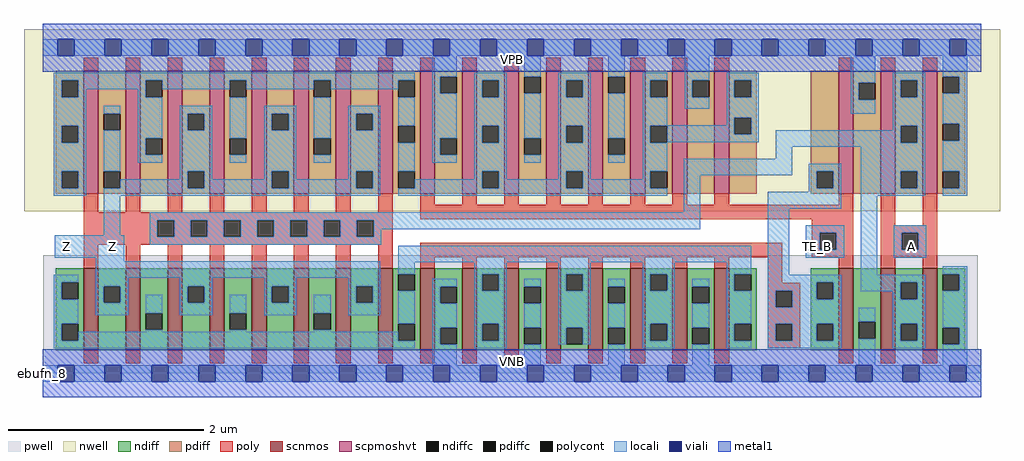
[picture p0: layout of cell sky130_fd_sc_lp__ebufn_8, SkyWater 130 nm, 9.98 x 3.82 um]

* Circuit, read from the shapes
.subckt sky130_fd_sc_lp__ebufn_8 A TE_B VGND VNB VPB VPWR Z
XM1 Z n1 n2 VNB sky130_fd_pr__nfet_01v8 w=0.84 l=0.15 m=8
XM2 VGND n3 n2 VNB sky130_fd_pr__nfet_01v8 w=0.84 l=0.15 m=8
XM3 VGND TE_B n3 VNB sky130_fd_pr__nfet_01v8 w=0.84 l=0.15
XM4 n1 A VGND VNB sky130_fd_pr__nfet_01v8 w=0.84 l=0.15 m=2
XM5 Z n1 n4 VPB sky130_fd_pr__pfet_01v8_hvt w=1.26 l=0.15 m=8
XM6 VPWR TE_B n4 VPB sky130_fd_pr__pfet_01v8_hvt w=1.26 l=0.15 m=8
XM7 VPWR TE_B n3 VPB sky130_fd_pr__pfet_01v8_hvt w=1.26 l=0.15
XM8 n1 A VPWR VPB sky130_fd_pr__pfet_01v8_hvt w=1.26 l=0.15 m=2
.ends

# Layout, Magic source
magic
tech sky130A
magscale 1 2
<< nwell >>
rect -38 331 1958 704
<< pwell >>
rect 1 49 1913 241
rect 0 0 1920 49
<< scnmos >>
rect 84 47 114 215
rect 170 47 200 215
rect 256 47 286 215
rect 342 47 372 215
rect 428 47 458 215
rect 514 47 544 215
rect 600 47 630 215
rect 686 47 716 215
rect 772 47 802 215
rect 858 47 888 215
rect 944 47 974 215
rect 1030 47 1060 215
rect 1116 47 1146 215
rect 1202 47 1232 215
rect 1288 47 1318 215
rect 1374 47 1404 215
rect 1628 47 1658 215
rect 1714 47 1744 215
rect 1800 47 1830 215
<< scpmoshvt >>
rect 84 367 114 619
rect 170 367 200 619
rect 256 367 286 619
rect 342 367 372 619
rect 428 367 458 619
rect 514 367 544 619
rect 600 367 630 619
rect 686 367 716 619
rect 772 367 802 619
rect 858 367 888 619
rect 944 367 974 619
rect 1030 367 1060 619
rect 1116 367 1146 619
rect 1202 367 1232 619
rect 1288 367 1318 619
rect 1374 367 1404 619
rect 1628 367 1658 619
rect 1714 367 1744 619
rect 1800 367 1830 619
<< ndiff >>
rect 27 186 84 215
rect 27 152 39 186
rect 73 152 84 186
rect 27 101 84 152
rect 27 67 39 101
rect 73 67 84 101
rect 27 47 84 67
rect 114 178 170 215
rect 114 144 125 178
rect 159 144 170 178
rect 114 47 170 144
rect 200 123 256 215
rect 200 89 211 123
rect 245 89 256 123
rect 200 47 256 89
rect 286 178 342 215
rect 286 144 297 178
rect 331 144 342 178
rect 286 47 342 144
rect 372 123 428 215
rect 372 89 383 123
rect 417 89 428 123
rect 372 47 428 89
rect 458 178 514 215
rect 458 144 469 178
rect 503 144 514 178
rect 458 47 514 144
rect 544 123 600 215
rect 544 89 555 123
rect 589 89 600 123
rect 544 47 600 89
rect 630 178 686 215
rect 630 144 641 178
rect 675 144 686 178
rect 630 47 686 144
rect 716 203 772 215
rect 716 169 727 203
rect 761 169 772 203
rect 716 101 772 169
rect 716 67 727 101
rect 761 67 772 101
rect 716 47 772 67
rect 802 177 858 215
rect 802 143 813 177
rect 847 143 858 177
rect 802 93 858 143
rect 802 59 813 93
rect 847 59 858 93
rect 802 47 858 59
rect 888 203 944 215
rect 888 169 899 203
rect 933 169 944 203
rect 888 101 944 169
rect 888 67 899 101
rect 933 67 944 101
rect 888 47 944 67
rect 974 177 1030 215
rect 974 143 985 177
rect 1019 143 1030 177
rect 974 93 1030 143
rect 974 59 985 93
rect 1019 59 1030 93
rect 974 47 1030 59
rect 1060 203 1116 215
rect 1060 169 1071 203
rect 1105 169 1116 203
rect 1060 93 1116 169
rect 1060 59 1071 93
rect 1105 59 1116 93
rect 1060 47 1116 59
rect 1146 177 1202 215
rect 1146 143 1157 177
rect 1191 143 1202 177
rect 1146 93 1202 143
rect 1146 59 1157 93
rect 1191 59 1202 93
rect 1146 47 1202 59
rect 1232 203 1288 215
rect 1232 169 1243 203
rect 1277 169 1288 203
rect 1232 101 1288 169
rect 1232 67 1243 101
rect 1277 67 1288 101
rect 1232 47 1288 67
rect 1318 177 1374 215
rect 1318 143 1329 177
rect 1363 143 1374 177
rect 1318 93 1374 143
rect 1318 59 1329 93
rect 1363 59 1374 93
rect 1318 47 1374 59
rect 1404 203 1461 215
rect 1404 169 1415 203
rect 1449 169 1461 203
rect 1404 101 1461 169
rect 1404 67 1415 101
rect 1449 67 1461 101
rect 1404 47 1461 67
rect 1571 186 1628 215
rect 1571 152 1583 186
rect 1617 152 1628 186
rect 1571 101 1628 152
rect 1571 67 1583 101
rect 1617 67 1628 101
rect 1571 47 1628 67
rect 1658 105 1714 215
rect 1658 71 1669 105
rect 1703 71 1714 105
rect 1658 47 1714 71
rect 1744 186 1800 215
rect 1744 152 1755 186
rect 1789 152 1800 186
rect 1744 101 1800 152
rect 1744 67 1755 101
rect 1789 67 1800 101
rect 1744 47 1800 67
rect 1830 203 1887 215
rect 1830 169 1841 203
rect 1875 169 1887 203
rect 1830 93 1887 169
rect 1830 59 1841 93
rect 1875 59 1887 93
rect 1830 47 1887 59
<< pdiff >>
rect 27 599 84 619
rect 27 565 39 599
rect 73 565 84 599
rect 27 506 84 565
rect 27 472 39 506
rect 73 472 84 506
rect 27 413 84 472
rect 27 379 39 413
rect 73 379 84 413
rect 27 367 84 379
rect 114 531 170 619
rect 114 497 125 531
rect 159 497 170 531
rect 114 413 170 497
rect 114 379 125 413
rect 159 379 170 413
rect 114 367 170 379
rect 200 599 256 619
rect 200 565 211 599
rect 245 565 256 599
rect 200 481 256 565
rect 200 447 211 481
rect 245 447 256 481
rect 200 367 256 447
rect 286 531 342 619
rect 286 497 297 531
rect 331 497 342 531
rect 286 413 342 497
rect 286 379 297 413
rect 331 379 342 413
rect 286 367 342 379
rect 372 599 428 619
rect 372 565 383 599
rect 417 565 428 599
rect 372 481 428 565
rect 372 447 383 481
rect 417 447 428 481
rect 372 367 428 447
rect 458 531 514 619
rect 458 497 469 531
rect 503 497 514 531
rect 458 413 514 497
rect 458 379 469 413
rect 503 379 514 413
rect 458 367 514 379
rect 544 599 600 619
rect 544 565 555 599
rect 589 565 600 599
rect 544 481 600 565
rect 544 447 555 481
rect 589 447 600 481
rect 544 367 600 447
rect 630 531 686 619
rect 630 497 641 531
rect 675 497 686 531
rect 630 413 686 497
rect 630 379 641 413
rect 675 379 686 413
rect 630 367 686 379
rect 716 599 772 619
rect 716 565 727 599
rect 761 565 772 599
rect 716 506 772 565
rect 716 472 727 506
rect 761 472 772 506
rect 716 413 772 472
rect 716 379 727 413
rect 761 379 772 413
rect 716 367 772 379
rect 802 607 858 619
rect 802 573 813 607
rect 847 573 858 607
rect 802 481 858 573
rect 802 447 813 481
rect 847 447 858 481
rect 802 367 858 447
rect 888 599 944 619
rect 888 565 899 599
rect 933 565 944 599
rect 888 506 944 565
rect 888 472 899 506
rect 933 472 944 506
rect 888 413 944 472
rect 888 379 899 413
rect 933 379 944 413
rect 888 367 944 379
rect 974 607 1030 619
rect 974 573 985 607
rect 1019 573 1030 607
rect 974 481 1030 573
rect 974 447 985 481
rect 1019 447 1030 481
rect 974 367 1030 447
rect 1060 599 1116 619
rect 1060 565 1071 599
rect 1105 565 1116 599
rect 1060 506 1116 565
rect 1060 472 1071 506
rect 1105 472 1116 506
rect 1060 413 1116 472
rect 1060 379 1071 413
rect 1105 379 1116 413
rect 1060 367 1116 379
rect 1146 607 1202 619
rect 1146 573 1157 607
rect 1191 573 1202 607
rect 1146 481 1202 573
rect 1146 447 1157 481
rect 1191 447 1202 481
rect 1146 367 1202 447
rect 1232 599 1288 619
rect 1232 565 1243 599
rect 1277 565 1288 599
rect 1232 506 1288 565
rect 1232 472 1243 506
rect 1277 472 1288 506
rect 1232 413 1288 472
rect 1232 379 1243 413
rect 1277 379 1288 413
rect 1232 367 1288 379
rect 1318 599 1374 619
rect 1318 565 1329 599
rect 1363 565 1374 599
rect 1318 367 1374 565
rect 1404 599 1461 619
rect 1404 565 1415 599
rect 1449 565 1461 599
rect 1404 523 1461 565
rect 1404 489 1415 523
rect 1449 489 1461 523
rect 1404 367 1461 489
rect 1571 413 1628 619
rect 1571 379 1583 413
rect 1617 379 1628 413
rect 1571 367 1628 379
rect 1658 594 1714 619
rect 1658 560 1669 594
rect 1703 560 1714 594
rect 1658 367 1714 560
rect 1744 599 1800 619
rect 1744 565 1755 599
rect 1789 565 1800 599
rect 1744 506 1800 565
rect 1744 472 1755 506
rect 1789 472 1800 506
rect 1744 413 1800 472
rect 1744 379 1755 413
rect 1789 379 1800 413
rect 1744 367 1800 379
rect 1830 607 1887 619
rect 1830 573 1841 607
rect 1875 573 1887 607
rect 1830 510 1887 573
rect 1830 476 1841 510
rect 1875 476 1887 510
rect 1830 413 1887 476
rect 1830 379 1841 413
rect 1875 379 1887 413
rect 1830 367 1887 379
<< ndiffc >>
rect 39 152 73 186
rect 39 67 73 101
rect 125 144 159 178
rect 211 89 245 123
rect 297 144 331 178
rect 383 89 417 123
rect 469 144 503 178
rect 555 89 589 123
rect 641 144 675 178
rect 727 169 761 203
rect 727 67 761 101
rect 813 143 847 177
rect 813 59 847 93
rect 899 169 933 203
rect 899 67 933 101
rect 985 143 1019 177
rect 985 59 1019 93
rect 1071 169 1105 203
rect 1071 59 1105 93
rect 1157 143 1191 177
rect 1157 59 1191 93
rect 1243 169 1277 203
rect 1243 67 1277 101
rect 1329 143 1363 177
rect 1329 59 1363 93
rect 1415 169 1449 203
rect 1415 67 1449 101
rect 1583 152 1617 186
rect 1583 67 1617 101
rect 1669 71 1703 105
rect 1755 152 1789 186
rect 1755 67 1789 101
rect 1841 169 1875 203
rect 1841 59 1875 93
<< pdiffc >>
rect 39 565 73 599
rect 39 472 73 506
rect 39 379 73 413
rect 125 497 159 531
rect 125 379 159 413
rect 211 565 245 599
rect 211 447 245 481
rect 297 497 331 531
rect 297 379 331 413
rect 383 565 417 599
rect 383 447 417 481
rect 469 497 503 531
rect 469 379 503 413
rect 555 565 589 599
rect 555 447 589 481
rect 641 497 675 531
rect 641 379 675 413
rect 727 565 761 599
rect 727 472 761 506
rect 727 379 761 413
rect 813 573 847 607
rect 813 447 847 481
rect 899 565 933 599
rect 899 472 933 506
rect 899 379 933 413
rect 985 573 1019 607
rect 985 447 1019 481
rect 1071 565 1105 599
rect 1071 472 1105 506
rect 1071 379 1105 413
rect 1157 573 1191 607
rect 1157 447 1191 481
rect 1243 565 1277 599
rect 1243 472 1277 506
rect 1243 379 1277 413
rect 1329 565 1363 599
rect 1415 565 1449 599
rect 1415 489 1449 523
rect 1583 379 1617 413
rect 1669 560 1703 594
rect 1755 565 1789 599
rect 1755 472 1789 506
rect 1755 379 1789 413
rect 1841 573 1875 607
rect 1841 476 1875 510
rect 1841 379 1875 413
<< poly >>
rect 84 619 114 645
rect 170 619 200 645
rect 256 619 286 645
rect 342 619 372 645
rect 428 619 458 645
rect 514 619 544 645
rect 600 619 630 645
rect 686 619 716 645
rect 772 619 802 645
rect 858 619 888 645
rect 944 619 974 645
rect 1030 619 1060 645
rect 1116 619 1146 645
rect 1202 619 1232 645
rect 1288 619 1318 645
rect 1374 619 1404 645
rect 1628 619 1658 645
rect 1714 619 1744 645
rect 1800 619 1830 645
rect 84 329 114 367
rect 170 329 200 367
rect 256 329 286 367
rect 342 329 372 367
rect 428 329 458 367
rect 514 329 544 367
rect 600 329 630 367
rect 686 329 716 367
rect 84 313 716 329
rect 772 345 802 367
rect 858 345 888 367
rect 944 345 974 367
rect 1030 345 1060 367
rect 1116 345 1146 367
rect 1202 345 1232 367
rect 1288 345 1318 367
rect 1374 345 1404 367
rect 1628 345 1658 367
rect 772 315 1658 345
rect 84 279 235 313
rect 269 279 303 313
rect 337 279 371 313
rect 405 279 439 313
rect 473 279 507 313
rect 541 279 575 313
rect 609 279 643 313
rect 677 279 716 313
rect 84 263 716 279
rect 1573 287 1658 315
rect 84 215 114 263
rect 170 215 200 263
rect 256 215 286 263
rect 342 215 372 263
rect 428 215 458 263
rect 514 215 544 263
rect 600 215 630 263
rect 686 215 716 263
rect 772 237 1513 267
rect 1573 253 1589 287
rect 1623 253 1658 287
rect 1573 237 1658 253
rect 772 215 802 237
rect 858 215 888 237
rect 944 215 974 237
rect 1030 215 1060 237
rect 1116 215 1146 237
rect 1202 215 1232 237
rect 1288 215 1318 237
rect 1374 215 1404 237
rect 1483 185 1513 237
rect 1628 215 1658 237
rect 1714 303 1744 367
rect 1800 303 1830 367
rect 1714 287 1830 303
rect 1714 253 1757 287
rect 1791 253 1830 287
rect 1714 237 1830 253
rect 1714 215 1744 237
rect 1800 215 1830 237
rect 1483 169 1549 185
rect 1483 135 1499 169
rect 1533 135 1549 169
rect 1483 101 1549 135
rect 1483 67 1499 101
rect 1533 67 1549 101
rect 1483 51 1549 67
rect 84 21 114 47
rect 170 21 200 47
rect 256 21 286 47
rect 342 21 372 47
rect 428 21 458 47
rect 514 21 544 47
rect 600 21 630 47
rect 686 21 716 47
rect 772 21 802 47
rect 858 21 888 47
rect 944 21 974 47
rect 1030 21 1060 47
rect 1116 21 1146 47
rect 1202 21 1232 47
rect 1288 21 1318 47
rect 1374 21 1404 47
rect 1628 21 1658 47
rect 1714 21 1744 47
rect 1800 21 1830 47
<< polycont >>
rect 235 279 269 313
rect 303 279 337 313
rect 371 279 405 313
rect 439 279 473 313
rect 507 279 541 313
rect 575 279 609 313
rect 643 279 677 313
rect 1589 253 1623 287
rect 1757 253 1791 287
rect 1499 135 1533 169
rect 1499 67 1533 101
<< locali >>
rect 0 649 31 683
rect 65 649 127 683
rect 161 649 223 683
rect 257 649 319 683
rect 353 649 415 683
rect 449 649 511 683
rect 545 649 607 683
rect 641 649 703 683
rect 737 649 799 683
rect 833 649 895 683
rect 929 649 991 683
rect 1025 649 1087 683
rect 1121 649 1183 683
rect 1217 649 1279 683
rect 1313 649 1375 683
rect 1409 649 1471 683
rect 1505 649 1567 683
rect 1601 649 1663 683
rect 1697 649 1759 683
rect 1793 649 1855 683
rect 1889 649 1920 683
rect 23 599 761 615
rect 23 565 39 599
rect 73 581 211 599
rect 73 565 89 581
rect 23 506 89 565
rect 195 565 211 581
rect 245 581 383 599
rect 23 472 39 506
rect 73 472 89 506
rect 23 413 89 472
rect 23 379 39 413
rect 73 379 89 413
rect 23 363 89 379
rect 125 531 159 547
rect 125 413 159 497
rect 195 481 245 565
rect 417 581 555 599
rect 195 447 211 481
rect 195 431 245 447
rect 281 531 347 547
rect 281 497 297 531
rect 331 497 347 531
rect 281 413 347 497
rect 383 481 417 565
rect 589 581 727 599
rect 383 431 417 447
rect 453 531 519 547
rect 453 497 469 531
rect 503 497 519 531
rect 281 397 297 413
rect 159 379 297 397
rect 331 397 347 413
rect 453 413 519 497
rect 555 481 589 565
rect 555 431 589 447
rect 625 531 691 547
rect 625 497 641 531
rect 675 497 691 531
rect 453 397 469 413
rect 331 379 469 397
rect 503 397 519 413
rect 625 413 691 497
rect 625 397 641 413
rect 503 379 641 397
rect 675 379 691 413
rect 125 363 691 379
rect 727 506 761 565
rect 727 413 761 472
rect 797 607 847 649
rect 797 573 813 607
rect 797 481 847 573
rect 797 447 813 481
rect 797 431 847 447
rect 883 599 949 615
rect 883 565 899 599
rect 933 565 949 599
rect 883 506 949 565
rect 883 472 899 506
rect 933 472 949 506
rect 883 413 949 472
rect 985 607 1019 649
rect 985 481 1019 573
rect 985 431 1019 447
rect 1055 599 1121 615
rect 1055 565 1071 599
rect 1105 565 1121 599
rect 1055 506 1121 565
rect 1055 472 1071 506
rect 1105 472 1121 506
rect 883 397 899 413
rect 761 379 899 397
rect 933 397 949 413
rect 1055 413 1121 472
rect 1157 607 1191 649
rect 1157 481 1191 573
rect 1157 431 1191 447
rect 1227 599 1277 615
rect 1227 565 1243 599
rect 1227 507 1277 565
rect 1313 599 1363 649
rect 1313 565 1329 599
rect 1313 541 1363 565
rect 1399 599 1465 615
rect 1399 565 1415 599
rect 1449 565 1465 599
rect 1399 523 1465 565
rect 1653 594 1703 649
rect 1653 560 1669 594
rect 1653 531 1703 560
rect 1739 599 1805 615
rect 1739 565 1755 599
rect 1789 565 1805 599
rect 1399 507 1415 523
rect 1227 506 1415 507
rect 1227 472 1243 506
rect 1277 489 1415 506
rect 1449 489 1465 523
rect 1739 506 1805 565
rect 1739 497 1755 506
rect 1277 473 1465 489
rect 1055 397 1071 413
rect 933 379 1071 397
rect 1105 397 1121 413
rect 1227 413 1277 472
rect 1499 472 1755 497
rect 1789 472 1805 506
rect 1499 463 1805 472
rect 1499 439 1533 463
rect 1227 397 1243 413
rect 1105 379 1243 397
rect 727 363 1277 379
rect 1311 405 1533 439
rect 1567 413 1633 429
rect 125 282 159 363
rect 1311 329 1345 405
rect 1567 379 1583 413
rect 1617 379 1633 413
rect 1567 371 1633 379
rect 219 313 1345 329
rect 25 236 167 282
rect 219 279 235 313
rect 269 279 303 313
rect 337 279 371 313
rect 405 279 439 313
rect 473 279 507 313
rect 541 279 575 313
rect 609 279 643 313
rect 677 295 1345 313
rect 1483 337 1633 371
rect 1673 413 1805 463
rect 1673 379 1755 413
rect 1789 379 1805 413
rect 1673 363 1805 379
rect 1841 607 1891 649
rect 1875 573 1891 607
rect 1841 510 1891 573
rect 1875 476 1891 510
rect 1841 413 1891 476
rect 1875 379 1891 413
rect 1841 363 1891 379
rect 677 279 693 295
rect 219 263 693 279
rect 109 229 167 236
rect 23 186 73 202
rect 23 152 39 186
rect 23 101 73 152
rect 109 195 691 229
rect 109 178 175 195
rect 109 144 125 178
rect 159 144 175 178
rect 281 178 347 195
rect 109 119 175 144
rect 211 123 245 161
rect 23 67 39 101
rect 281 144 297 178
rect 331 144 347 178
rect 453 178 519 195
rect 281 119 347 144
rect 383 123 417 161
rect 211 85 245 89
rect 453 144 469 178
rect 503 144 519 178
rect 625 178 691 195
rect 453 119 519 144
rect 555 123 589 161
rect 383 85 417 89
rect 625 144 641 178
rect 675 144 691 178
rect 625 119 691 144
rect 727 227 1449 261
rect 727 203 761 227
rect 883 203 949 227
rect 555 85 589 89
rect 727 101 761 169
rect 73 67 727 85
rect 23 51 761 67
rect 797 177 847 193
rect 797 143 813 177
rect 797 93 847 143
rect 797 59 813 93
rect 797 17 847 59
rect 883 169 899 203
rect 933 169 949 203
rect 1055 203 1121 227
rect 883 101 949 169
rect 883 67 899 101
rect 933 67 949 101
rect 883 51 949 67
rect 985 177 1019 193
rect 985 93 1019 143
rect 1055 169 1071 203
rect 1105 169 1121 203
rect 1227 203 1293 227
rect 1055 93 1121 169
rect 1055 59 1071 93
rect 1105 59 1121 93
rect 1157 177 1191 193
rect 1157 93 1191 143
rect 985 17 1019 59
rect 1157 17 1191 59
rect 1227 169 1243 203
rect 1277 169 1293 203
rect 1399 203 1449 227
rect 1227 101 1293 169
rect 1227 67 1243 101
rect 1277 67 1293 101
rect 1227 51 1293 67
rect 1329 177 1363 193
rect 1329 93 1363 143
rect 1329 17 1363 59
rect 1399 169 1415 203
rect 1399 101 1449 169
rect 1399 67 1415 101
rect 1399 51 1449 67
rect 1483 202 1527 337
rect 1561 287 1639 303
rect 1561 253 1589 287
rect 1623 253 1639 287
rect 1561 236 1639 253
rect 1673 202 1707 363
rect 1741 287 1807 303
rect 1741 253 1757 287
rect 1791 253 1807 287
rect 1741 236 1807 253
rect 1841 203 1891 219
rect 1483 186 1633 202
rect 1483 169 1583 186
rect 1483 135 1499 169
rect 1533 152 1583 169
rect 1617 152 1633 186
rect 1673 186 1805 202
rect 1673 168 1755 186
rect 1533 135 1633 152
rect 1483 101 1633 135
rect 1739 152 1755 168
rect 1789 152 1805 186
rect 1483 67 1499 101
rect 1533 67 1583 101
rect 1617 67 1633 101
rect 1483 51 1633 67
rect 1669 105 1703 134
rect 1669 17 1703 71
rect 1739 101 1805 152
rect 1739 67 1755 101
rect 1789 67 1805 101
rect 1739 51 1805 67
rect 1875 169 1891 203
rect 1841 93 1891 169
rect 1875 59 1891 93
rect 1841 17 1891 59
rect 0 -17 31 17
rect 65 -17 127 17
rect 161 -17 223 17
rect 257 -17 319 17
rect 353 -17 415 17
rect 449 -17 511 17
rect 545 -17 607 17
rect 641 -17 703 17
rect 737 -17 799 17
rect 833 -17 895 17
rect 929 -17 991 17
rect 1025 -17 1087 17
rect 1121 -17 1183 17
rect 1217 -17 1279 17
rect 1313 -17 1375 17
rect 1409 -17 1471 17
rect 1505 -17 1567 17
rect 1601 -17 1663 17
rect 1697 -17 1759 17
rect 1793 -17 1855 17
rect 1889 -17 1920 17
<< viali >>
rect 31 649 65 683
rect 127 649 161 683
rect 223 649 257 683
rect 319 649 353 683
rect 415 649 449 683
rect 511 649 545 683
rect 607 649 641 683
rect 703 649 737 683
rect 799 649 833 683
rect 895 649 929 683
rect 991 649 1025 683
rect 1087 649 1121 683
rect 1183 649 1217 683
rect 1279 649 1313 683
rect 1375 649 1409 683
rect 1471 649 1505 683
rect 1567 649 1601 683
rect 1663 649 1697 683
rect 1759 649 1793 683
rect 1855 649 1889 683
rect 31 -17 65 17
rect 127 -17 161 17
rect 223 -17 257 17
rect 319 -17 353 17
rect 415 -17 449 17
rect 511 -17 545 17
rect 607 -17 641 17
rect 703 -17 737 17
rect 799 -17 833 17
rect 895 -17 929 17
rect 991 -17 1025 17
rect 1087 -17 1121 17
rect 1183 -17 1217 17
rect 1279 -17 1313 17
rect 1375 -17 1409 17
rect 1471 -17 1505 17
rect 1567 -17 1601 17
rect 1663 -17 1697 17
rect 1759 -17 1793 17
rect 1855 -17 1889 17
<< metal1 >>
rect 0 683 1920 715
rect 0 649 31 683
rect 65 649 127 683
rect 161 649 223 683
rect 257 649 319 683
rect 353 649 415 683
rect 449 649 511 683
rect 545 649 607 683
rect 641 649 703 683
rect 737 649 799 683
rect 833 649 895 683
rect 929 649 991 683
rect 1025 649 1087 683
rect 1121 649 1183 683
rect 1217 649 1279 683
rect 1313 649 1375 683
rect 1409 649 1471 683
rect 1505 649 1567 683
rect 1601 649 1663 683
rect 1697 649 1759 683
rect 1793 649 1855 683
rect 1889 649 1920 683
rect 0 617 1920 649
rect 0 17 1920 49
rect 0 -17 31 17
rect 65 -17 127 17
rect 161 -17 223 17
rect 257 -17 319 17
rect 353 -17 415 17
rect 449 -17 511 17
rect 545 -17 607 17
rect 641 -17 703 17
rect 737 -17 799 17
rect 833 -17 895 17
rect 929 -17 991 17
rect 1025 -17 1087 17
rect 1121 -17 1183 17
rect 1217 -17 1279 17
rect 1313 -17 1375 17
rect 1409 -17 1471 17
rect 1505 -17 1567 17
rect 1601 -17 1663 17
rect 1697 -17 1759 17
rect 1793 -17 1855 17
rect 1889 -17 1920 17
rect 0 -49 1920 -17
<< labels >>
flabel pwell s 0 0 1920 49 0 FreeSans 200 0 0 0 VNB
port 4 nsew ground bidirectional
flabel nwell s 0 617 1920 666 0 FreeSans 200 0 0 0 VPB
port 5 nsew power bidirectional
rlabel comment s 0 0 0 0 4 ebufn_8
flabel metal1 s 0 617 1920 666 0 FreeSans 340 0 0 0 VPWR
port 6 nsew power bidirectional
flabel metal1 s 0 0 1920 49 0 FreeSans 340 0 0 0 VGND
port 3 nsew ground bidirectional
flabel locali s 1567 242 1601 276 0 FreeSans 340 0 0 0 TE_B
port 2 nsew signal input
flabel locali s 1759 242 1793 276 0 FreeSans 340 0 0 0 A
port 1 nsew signal input
flabel locali s 31 242 65 276 0 FreeSans 340 0 0 0 Z
port 7 nsew signal output
flabel locali s 127 242 161 276 0 FreeSans 340 0 0 0 Z
port 7 nsew signal output
<< properties >>
string LEFsite unit
string LEFclass CORE
string FIXED_BBOX 0 0 1920 666
string GDS_FILE $PDKPATH/libs.ref/sky130_fd_sc_lp/gds/sky130_fd_sc_lp.gds
string LEFsymmetry X Y R90
string GDS_END 3324676
string GDS_START 3310924
<< end >>
